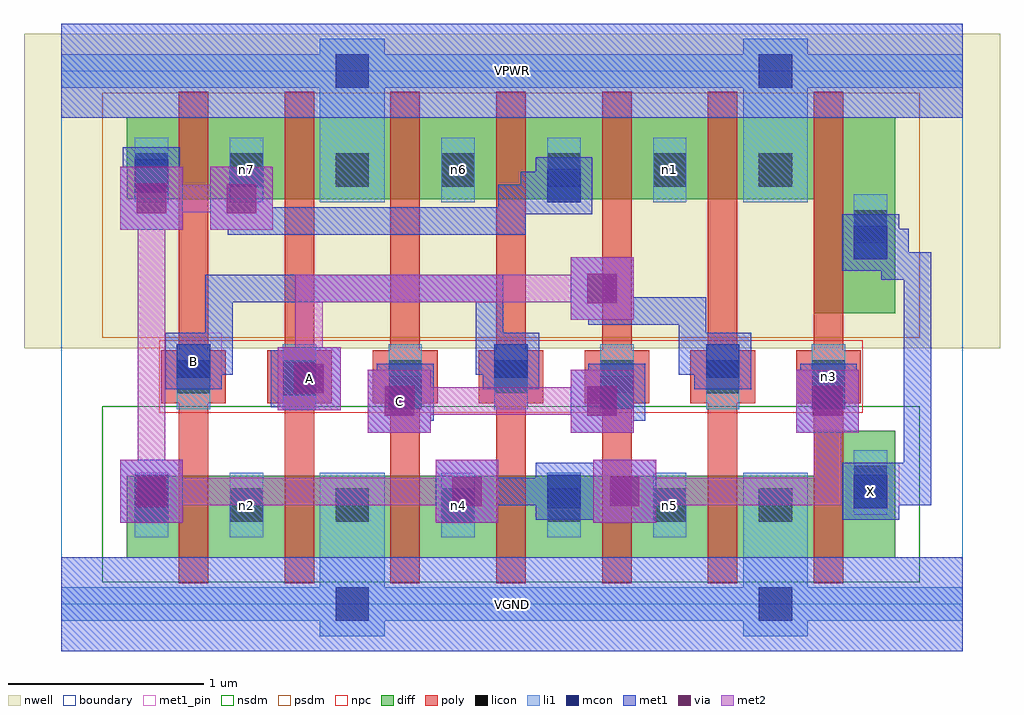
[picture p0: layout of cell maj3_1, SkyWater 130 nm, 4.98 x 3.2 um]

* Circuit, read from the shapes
.subckt maj3_1 A B C VGND VPWR X n1 n2 n3 n4 n5 n6 n7
XM1 n2 B n3 VSUBS sky130_fd_pr__nfet_01v8 w=0.42 l=0.15
XM2 VGND A n2 VSUBS sky130_fd_pr__nfet_01v8 w=0.42 l=0.15
XM3 n4 C VGND VSUBS sky130_fd_pr__nfet_01v8 w=0.42 l=0.15
XM4 n3 B n4 VSUBS sky130_fd_pr__nfet_01v8 w=0.42 l=0.15
XM5 n5 C n3 VSUBS sky130_fd_pr__nfet_01v8 w=0.42 l=0.15
XM6 VGND A n5 VSUBS sky130_fd_pr__nfet_01v8 w=0.42 l=0.15
XM7 X n3 VGND VSUBS sky130_fd_pr__nfet_01v8 w=0.535 l=0.1822
XM8 n7 B n3 n8 sky130_fd_pr__pfet_01v8 w=0.42 l=0.15
XM9 VPWR A n7 n8 sky130_fd_pr__pfet_01v8 w=0.42 l=0.15
XM10 n6 C VPWR n8 sky130_fd_pr__pfet_01v8 w=0.42 l=0.15
XM11 n3 B n6 n8 sky130_fd_pr__pfet_01v8 w=0.42 l=0.15
XM12 n1 C n3 n8 sky130_fd_pr__pfet_01v8 w=0.42 l=0.15
XM13 VPWR A n1 n8 sky130_fd_pr__pfet_01v8 w=0.42 l=0.15
XM14 X n3 VPWR n8 sky130_fd_pr__pfet_01v8 w=0.71 l=0.2113
.ends

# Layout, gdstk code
import gdstk
lib = gdstk.Library(unit=1e-6, precision=1e-09)
def R(c, l, rs):  # rectangles x0, y0, x1, y1
    for r in rs: c.add(gdstk.rectangle(r[:2], r[2:], *l))
def A(c, l, x, y, w, h, nx, ny, dx, dy):  # array of equal rectangles
    R(c, l, [(x+i*dx, y+j*dy, x+i*dx+w, y+j*dy+h) for i in range(nx) for j in range(ny)])
nwell = (64, 20)
diff = (65, 20)
poly = (66, 20)
licon = (66, 44)
li1 = (67, 20)
mcon = (67, 44)
met1_pin = (68, 16)
met1 = (68, 20)
via = (68, 44)
met2 = (69, 20)
nsdm = (93, 44)
psdm = (94, 20)
npc = (95, 20)
boundary = (235, 4)

maj3_1 = lib.new_cell('maj3_1')
R(maj3_1, nwell, [(-0.19,1.305,4.79,2.91), (0,1.305,4.6,2.91)])
R(maj3_1, diff, [(0.335,0.235,3.915,0.655), (3.84,0.235,4.255,0.885), (3.84,1.485,4.255,2.485), (0.335,2.065,3.915,2.485)])
A(maj3_1, poly, 0.6, 0.105, 0.15, 2.51, 7, 1, 0.54, 0)
A(maj3_1, poly, 0.51, 1.025, 0.33, 0.27, 7, 1, 0.54, 0)
A(maj3_1, licon, 0.86, 0.42, 0.17, 0.17, 6, 2, 0.54, 1.71)
A(maj3_1, licon, 0.59, 1.075, 0.17, 0.17, 7, 1, 0.54, 0)
R(maj3_1, licon, [(0.375,0.42,0.545,0.59), (4.045,0.535,4.215,0.705), (4.045,1.84,4.215,2.01), (0.375,2.13,0.545,2.3)])
A(maj3_1, li1, 1.94, 0.34, 0.17, 0.33, 3, 2, 0.54, 1.71)
A(maj3_1, li1, 0.59, 0.995, 0.17, 0.33, 7, 1, 0.54, 0)
R(maj3_1, li1, [(1.32,-0.165,1.65,0.67), (3.48,-0.165,3.81,0.67), (0,-0.085,4.6,0.085), (0.375,0.34,0.545,0.67), (0.86,0.34,1.03,0.67), (4.045,0.455,4.215,0.785), (4.045,1.76,4.215,2.09), (0.375,2.05,0.545,2.38), (0.86,2.05,1.03,2.38), (1.32,2.05,1.65,2.885), (3.48,2.05,3.81,2.885), (0,2.635,4.6,2.805)])
A(maj3_1, mcon, 1.67, 0.995, 0.17, 0.17, 3, 1, 1.08, 0)
R(maj3_1, mcon, [(1.4,-0.085,1.57,0.085), (3.56,-0.085,3.73,0.085), (0.375,0.49,0.545,0.66), (2.48,0.49,2.65,0.66), (4.045,0.49,4.215,0.66), (1.13,1.065,1.3,1.235), (0.59,1.155,0.76,1.325), (2.21,1.155,2.38,1.325), (3.29,1.155,3.46,1.325), (4.045,1.76,4.215,1.93), (2.48,2.05,2.65,2.22), (0.375,2.1,0.545,2.27), (1.4,2.635,1.57,2.805), (3.56,2.635,3.73,2.805)])
R(maj3_1, met1_pin, [(0,-0.24,4.6,0.24), (3.985,0.43,4.275,0.72), (1.565,0.875,1.885,1.195), (1.105,0.99,1.425,1.31), (0.53,1.095,0.82,1.385), (0,2.48,4.6,2.96)])
A(maj3_1, met1, 1.61, 0.935, 0.29, 0.29, 3, 1, 1.08, 0)
R(maj3_1, met1, [(0,-0.24,4.6,0.24), (0.3,0.415,0.62,0.735), (1.91,0.415,2.23,0.735), (2.715,0.415,3.035,0.735), (0.315,0.43,0.605,0.72), (2.42,0.43,2.71,0.72), (2.71,0.43,2.715,0.72), (3.985,0.43,4.275,0.72), (2,0.505,2.485,0.645), (2.345,0.505,2.945,0.645), (2.345,0.505,2.635,0.645), (4.06,0.505,4.325,0.645), (4.185,0.505,4.44,0.645), (4.275,0.505,4.3,0.72), (4.3,0.505,4.44,1.795), (1.565,0.875,1.885,1.195), (2.6,0.875,2.92,1.195), (3.75,0.875,4.07,1.195), (1.655,0.965,1.795,1.15), (2.69,0.965,2.83,1.15), (3.84,0.965,3.98,1.15), (1.105,0.99,1.425,1.31), (1.07,1.005,1.36,1.295), (1.655,1.01,1.825,1.15), (2.69,1.01,2.905,1.15), (3.84,1.01,3.985,1.15), (1.145,1.08,1.335,1.22), (0.53,1.095,0.82,1.385), (2.15,1.095,2.44,1.385), (3.23,1.095,3.52,1.385), (0.605,1.17,0.875,1.31), (0.735,1.17,0.875,1.45), (2.115,1.17,2.255,1.45), (2.115,1.17,2.365,1.31), (3.15,1.17,3.29,1.45), (3.15,1.17,3.445,1.31), (0.735,1.31,0.875,1.68), (2.115,1.31,2.255,1.68), (3.15,1.31,3.29,1.565), (2.69,1.425,2.83,1.68), (2.69,1.425,3.29,1.565), (2.6,1.45,2.92,1.77), (0.735,1.54,2.255,1.68), (4.185,1.655,4.44,1.795), (4.185,1.655,4.325,1.915), (3.985,1.7,4.275,1.99), (4.06,1.775,4.325,1.915), (0.85,1.885,2.37,2.025), (0.85,1.885,0.99,2.14), (2.23,1.885,2.37,2.14), (0.3,1.91,0.62,2.23), (0.76,1.91,1.08,2.23), (2.37,1.99,2.42,2.025), (2.37,1.99,2.42,2.14), (2.42,1.99,2.71,2.28), (0.39,2,0.53,2.255), (2.23,2,2.485,2.14), (2.345,2,2.485,2.205), (0.315,2.04,0.605,2.33), (2.345,2.065,2.635,2.205), (0,2.48,4.6,2.96)])
R(maj3_1, via, [(0.385,0.5,0.535,0.65), (1.995,0.5,2.145,0.65), (2.8,0.5,2.95,0.65), (1.65,0.96,1.8,1.11), (2.685,0.96,2.835,1.11), (3.835,0.96,3.985,1.11), (1.19,1.075,1.34,1.225), (2.685,1.535,2.835,1.685), (0.385,1.995,0.535,2.145), (0.845,1.995,0.995,2.145)])
R(maj3_1, met2, [(0.3,0.415,0.62,0.735), (1.91,0.415,2.23,0.735), (2.715,0.415,3.035,0.735), (0.39,0.505,0.53,2.14), (0.39,0.505,2.14,0.645), (2.805,0.505,3.98,0.645), (3.84,0.505,3.98,1.105), (1.565,0.875,1.885,1.195), (2.6,0.875,2.92,1.195), (3.75,0.875,4.07,1.195), (1.655,0.965,2.83,1.105), (1.105,0.99,1.425,1.31), (1.195,1.08,1.335,1.68), (2.6,1.45,2.92,1.77), (1.195,1.54,2.83,1.68), (0.3,1.91,0.62,2.23), (0.76,1.91,1.08,2.23), (0.39,2,0.99,2.14)])
R(maj3_1, nsdm, [(0.21,0.11,4.38,1.01)])
R(maj3_1, psdm, [(0.21,1.36,4.38,2.61)])
R(maj3_1, npc, [(0.5,0.975,4.09,1.345)])
R(maj3_1, boundary, [(0,0,4.6,2.72)])
maj3_1.add(gdstk.Label('n3', (3.915,1.16), layer=67, texttype=5))
maj3_1.add(gdstk.Label('n2', (0.945,0.505), layer=67, texttype=5))
maj3_1.add(gdstk.Label('n4', (2.025,0.505), layer=67, texttype=5))
maj3_1.add(gdstk.Label('n5', (3.105,0.505), layer=67, texttype=5))
maj3_1.add(gdstk.Label('n7', (0.945,2.215), layer=67, texttype=5))
maj3_1.add(gdstk.Label('n6', (2.025,2.215), layer=67, texttype=5))
maj3_1.add(gdstk.Label('n1', (3.105,2.215), layer=67, texttype=5))
maj3_1.add(gdstk.Label('A', (1.265,1.15), layer=68, texttype=5))
maj3_1.add(gdstk.Label('B', (0.675,1.24), layer=68, texttype=5))
maj3_1.add(gdstk.Label('C', (1.725,1.035), layer=68, texttype=5))
maj3_1.add(gdstk.Label('X', (4.13,0.575), layer=68, texttype=5))
maj3_1.add(gdstk.Label('VPWR', (2.3,2.72), layer=68, texttype=5))
maj3_1.add(gdstk.Label('VGND', (2.3,0), layer=68, texttype=5))
maj3_1.add(gdstk.Label('A', (1.265,1.15), layer=68, texttype=16))
maj3_1.add(gdstk.Label('B', (0.675,1.24), layer=68, texttype=16))
maj3_1.add(gdstk.Label('C', (1.725,1.035), layer=68, texttype=16))
maj3_1.add(gdstk.Label('X', (4.13,0.575), layer=68, texttype=16))
maj3_1.add(gdstk.Label('VPWR', (2.3,2.72), layer=68, texttype=16))
maj3_1.add(gdstk.Label('VGND', (2.3,0), layer=68, texttype=16))

lib.write_gds('maj3_1.gds')
